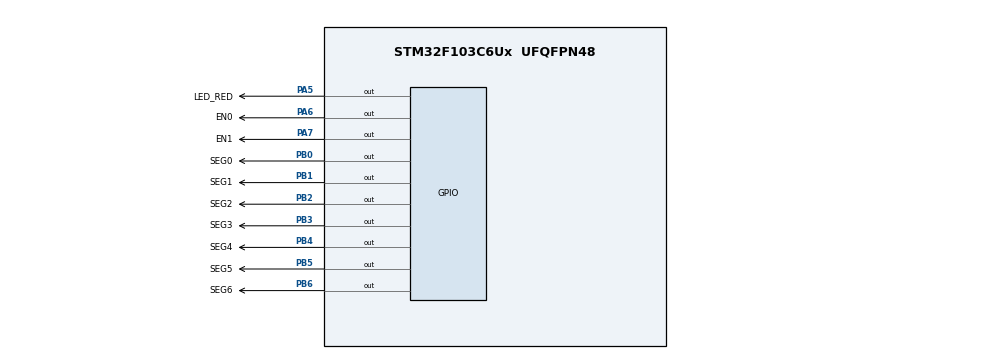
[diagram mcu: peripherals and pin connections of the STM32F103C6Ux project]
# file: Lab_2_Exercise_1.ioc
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Mcu.Family=STM32F1
Mcu.Name=STM32F103C6Ux
Mcu.Package=UFQFPN48
NVIC.PriorityGroup=NVIC_PRIORITYGROUP_4
NVIC.TIM2_IRQn=true\:0\:0\:false\:false\:true\:true\:true
PA5.GPIO_Label=LED_RED
PA5.Signal=GPIO_Output
PA6.GPIO_Label=EN0
PA6.Signal=GPIO_Output
PA7.GPIO_Label=EN1
PA7.Signal=GPIO_Output
PB0.GPIO_Label=SEG0
PB0.Signal=GPIO_Output
PB1.GPIO_Label=SEG1
PB1.Signal=GPIO_Output
PB2.GPIO_Label=SEG2
PB2.Signal=GPIO_Output
PB3.GPIO_Label=SEG3
PB3.Signal=GPIO_Output
PB4.GPIO_Label=SEG4
PB4.Signal=GPIO_Output
PB5.GPIO_Label=SEG5
PB5.Signal=GPIO_Output
PB6.GPIO_Label=SEG6
PB6.Signal=GPIO_Output
ProjectManager.HeapSize=0x200
ProjectManager.StackSize=0x400
ProjectManager.TargetToolchain=STM32CubeIDE
RCC.APB1Freq_Value=8000000
RCC.APB2Freq_Value=8000000
TIM2.Period=9
TIM2.Prescaler=7999
VP_SYS_VS_ND.Mode=No_Debug
VP_TIM2_VS_ClockSourceINT.Mode=Internal
board=custom

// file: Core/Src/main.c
/* USER CODE BEGIN Header */
/**
  ******************************************************************************
  * @file           : main.c
  * @brief          : Main program body
  ******************************************************************************
  * @attention
  *
  * <h2><center>&copy; Copyright (c) 2022 STMicroelectronics.
  * All rights reserved.</center></h2>
  *
  * This software component is licensed by ST under BSD 3-Clause license,
  * the "License"; You may not use this file except in compliance with the
  * License. You may obtain a copy of the License at:
  *                        opensource.org/licenses/BSD-3-Clause
  *
  ******************************************************************************
  */
/* USER CODE END Header */
#include "main.h"

TIM_HandleTypeDef htim2;

void SystemClock_Config(void);
static void MX_GPIO_Init(void);
static void MX_TIM2_Init(void);

int main(void)
{

  /* MCU Configuration--------------------------------------------------------*/

  /* Reset of all peripherals, Initializes the Flash interface and the Systick. */
  HAL_Init();

  /* Configure the system clock */
  SystemClock_Config();

  /* Initialize all configured peripherals */
  MX_GPIO_Init();
  MX_TIM2_Init();
  HAL_TIM_Base_Start_IT(&htim2);

  /* Infinite loop */
  while (1)
  {
  }
}

void SystemClock_Config(void)
{
  RCC_OscInitTypeDef RCC_OscInitStruct = {0};
  RCC_ClkInitTypeDef RCC_ClkInitStruct = {0};

  /** Initializes the RCC Oscillators according to the specified parameters
  * in the RCC_OscInitTypeDef structure.
  */
  RCC_OscInitStruct.OscillatorType = RCC_OSCILLATORTYPE_HSI;
  RCC_OscInitStruct.HSIState = RCC_HSI_ON;
  RCC_OscInitStruct.HSICalibrationValue = RCC_HSICALIBRATION_DEFAULT;
  RCC_OscInitStruct.PLL.PLLState = RCC_PLL_NONE;
  if (HAL_RCC_OscConfig(&RCC_OscInitStruct) != HAL_OK)
  {
    Error_Handler();
  }
  /** Initializes the CPU, AHB and APB buses clocks
  */
  RCC_ClkInitStruct.ClockType = RCC_CLOCKTYPE_HCLK|RCC_CLOCKTYPE_SYSCLK
                              |RCC_CLOCKTYPE_PCLK1|RCC_CLOCKTYPE_PCLK2;
  RCC_ClkInitStruct.SYSCLKSource = RCC_SYSCLKSOURCE_HSI;
  RCC_ClkInitStruct.AHBCLKDivider = RCC_SYSCLK_DIV1;
  RCC_ClkInitStruct.APB1CLKDivider = RCC_HCLK_DIV1;
  RCC_ClkInitStruct.APB2CLKDivider = RCC_HCLK_DIV1;

  if (HAL_RCC_ClockConfig(&RCC_ClkInitStruct, FLASH_LATENCY_0) != HAL_OK)
  {
    Error_Handler();
  }
}

static void MX_TIM2_Init(void)
{

  TIM_ClockConfigTypeDef sClockSourceConfig = {0};
  TIM_MasterConfigTypeDef sMasterConfig = {0};

  htim2.Instance = TIM2;
  htim2.Init.Prescaler = 7999;
  htim2.Init.CounterMode = TIM_COUNTERMODE_UP;
  htim2.Init.Period = 9;
  htim2.Init.ClockDivision = TIM_CLOCKDIVISION_DIV1;
  htim2.Init.AutoReloadPreload = TIM_AUTORELOAD_PRELOAD_DISABLE;
  if (HAL_TIM_Base_Init(&htim2) != HAL_OK)
  {
    Error_Handler();
  }
  sClockSourceConfig.ClockSource = TIM_CLOCKSOURCE_INTERNAL;
  if (HAL_TIM_ConfigClockSource(&htim2, &sClockSourceConfig) != HAL_OK)
  {
    Error_Handler();
  }
  sMasterConfig.MasterOutputTrigger = TIM_TRGO_RESET;
  sMasterConfig.MasterSlaveMode = TIM_MASTERSLAVEMODE_DISABLE;
  if (HAL_TIMEx_MasterConfigSynchronization(&htim2, &sMasterConfig) != HAL_OK)
  {
    Error_Handler();
  }

}

static void MX_GPIO_Init(void)
{
  GPIO_InitTypeDef GPIO_InitStruct = {0};

  /* GPIO Ports Clock Enable */
  __HAL_RCC_GPIOA_CLK_ENABLE();
  __HAL_RCC_GPIOB_CLK_ENABLE();

  /*Configure GPIO pin Output Level */
  HAL_GPIO_WritePin(GPIOA, LED_RED_Pin|EN0_Pin|EN1_Pin, GPIO_PIN_RESET);

  /*Configure GPIO pin Output Level */
  HAL_GPIO_WritePin(GPIOB, SEG0_Pin|SEG1_Pin|SEG2_Pin|SEG3_Pin
                          |SEG4_Pin|SEG5_Pin|SEG6_Pin, GPIO_PIN_RESET);

  /*Configure GPIO pins : LED_RED_Pin EN0_Pin EN1_Pin */
  GPIO_InitStruct.Pin = LED_RED_Pin|EN0_Pin|EN1_Pin;
  GPIO_InitStruct.Mode = GPIO_MODE_OUTPUT_PP;
  GPIO_InitStruct.Pull = GPIO_NOPULL;
  GPIO_InitStruct.Speed = GPIO_SPEED_FREQ_LOW;
  HAL_GPIO_Init(GPIOA, &GPIO_InitStruct);

  /*Configure GPIO pins : SEG0_Pin SEG1_Pin SEG2_Pin SEG3_Pin
                           SEG4_Pin SEG5_Pin SEG6_Pin */
  GPIO_InitStruct.Pin = SEG0_Pin|SEG1_Pin|SEG2_Pin|SEG3_Pin
                          |SEG4_Pin|SEG5_Pin|SEG6_Pin;
  GPIO_InitStruct.Mode = GPIO_MODE_OUTPUT_PP;
  GPIO_InitStruct.Pull = GPIO_NOPULL;
  GPIO_InitStruct.Speed = GPIO_SPEED_FREQ_LOW;
  HAL_GPIO_Init(GPIOB, &GPIO_InitStruct);

}

/* USER CODE BEGIN 4 */
void display7SEG(int num){
	switch(num)
	{
	case 0:
		HAL_GPIO_WritePin(SEG0_GPIO_Port, SEG0_Pin, 0);
		HAL_GPIO_WritePin(SEG1_GPIO_Port, SEG1_Pin, 0);
		HAL_GPIO_WritePin(SEG2_GPIO_Port, SEG2_Pin, 0);
		HAL_GPIO_WritePin(SEG3_GPIO_Port, SEG3_Pin, 0);
		HAL_GPIO_WritePin(SEG4_GPIO_Port, SEG4_Pin, 0);
		HAL_GPIO_WritePin(SEG5_GPIO_Port, SEG5_Pin, 0);
		HAL_GPIO_WritePin(SEG6_GPIO_Port, SEG6_Pin, 1);
		break;
	case 1:
		HAL_GPIO_WritePin(SEG0_GPIO_Port, SEG0_Pin, 1);
		HAL_GPIO_WritePin(SEG1_GPIO_Port, SEG1_Pin, 0);
		HAL_GPIO_WritePin(SEG2_GPIO_Port, SEG2_Pin, 0);
		HAL_GPIO_WritePin(SEG3_GPIO_Port, SEG3_Pin, 1);
		HAL_GPIO_WritePin(SEG4_GPIO_Port, SEG4_Pin, 1);
		HAL_GPIO_WritePin(SEG5_GPIO_Port, SEG5_Pin, 1);
		HAL_GPIO_WritePin(SEG6_GPIO_Port, SEG6_Pin, 1);
		break;
	case 2:
		HAL_GPIO_WritePin(SEG0_GPIO_Port, SEG0_Pin, 0);
		HAL_GPIO_WritePin(SEG1_GPIO_Port, SEG1_Pin, 0);
		HAL_GPIO_WritePin(SEG2_GPIO_Port, SEG2_Pin, 1);
		HAL_GPIO_WritePin(SEG3_GPIO_Port, SEG3_Pin, 0);
		HAL_GPIO_WritePin(SEG4_GPIO_Port, SEG4_Pin, 0);
		HAL_GPIO_WritePin(SEG5_GPIO_Port, SEG5_Pin, 1);
		HAL_GPIO_WritePin(SEG6_GPIO_Port, SEG6_Pin, 0);
		break;
	case 3:
		HAL_GPIO_WritePin(SEG0_GPIO_Port, SEG0_Pin, 0);
		HAL_GPIO_WritePin(SEG1_GPIO_Port, SEG1_Pin, 0);
		HAL_GPIO_WritePin(SEG2_GPIO_Port, SEG2_Pin, 0);
		HAL_GPIO_WritePin(SEG3_GPIO_Port, SEG3_Pin, 0);
		HAL_GPIO_WritePin(SEG4_GPIO_Port, SEG4_Pin, 1);
		HAL_GPIO_WritePin(SEG5_GPIO_Port, SEG5_Pin, 1);
		HAL_GPIO_WritePin(SEG6_GPIO_Port, SEG6_Pin, 0);
		break;
	case 4:
		HAL_GPIO_WritePin(SEG0_GPIO_Port, SEG0_Pin, 1);
		HAL_GPIO_WritePin(SEG1_GPIO_Port, SEG1_Pin, 0);
		HAL_GPIO_WritePin(SEG2_GPIO_Port, SEG2_Pin, 0);
		HAL_GPIO_WritePin(SEG3_GPIO_Port, SEG3_Pin, 1);
		HAL_GPIO_WritePin(SEG4_GPIO_Port, SEG4_Pin, 1);
		HAL_GPIO_WritePin(SEG5_GPIO_Port, SEG5_Pin, 0);
		HAL_GPIO_WritePin(SEG6_GPIO_Port, SEG6_Pin, 0);
		break;
	case 5:
		HAL_GPIO_WritePin(SEG0_GPIO_Port, SEG0_Pin, 0);
		HAL_GPIO_WritePin(SEG1_GPIO_Port, SEG1_Pin, 0);
		HAL_GPIO_WritePin(SEG2_GPIO_Port, SEG2_Pin, 1);
		HAL_GPIO_WritePin(SEG3_GPIO_Port, SEG3_Pin, 0);
		HAL_GPIO_WritePin(SEG4_GPIO_Port, SEG4_Pin, 1);
		HAL_GPIO_WritePin(SEG5_GPIO_Port, SEG5_Pin, 0);
		HAL_GPIO_WritePin(SEG6_GPIO_Port, SEG6_Pin, 0);
		break;
	case 6:
		HAL_GPIO_WritePin(SEG0_GPIO_Port, SEG0_Pin, 0);
		HAL_GPIO_WritePin(SEG1_GPIO_Port, SEG1_Pin, 1);
		HAL_GPIO_WritePin(SEG2_GPIO_Port, SEG2_Pin, 0);
		HAL_GPIO_WritePin(SEG3_GPIO_Port, SEG3_Pin, 0);
		HAL_GPIO_WritePin(SEG4_GPIO_Port, SEG4_Pin, 0);
		HAL_GPIO_WritePin(SEG5_GPIO_Port, SEG5_Pin, 0);
		HAL_GPIO_WritePin(SEG6_GPIO_Port, SEG6_Pin, 0);
		break;
	case 7:
		HAL_GPIO_WritePin(SEG0_GPIO_Port, SEG0_Pin, 0);
		HAL_GPIO_WritePin(SEG1_GPIO_Port, SEG1_Pin, 0);
		HAL_GPIO_WritePin(SEG2_GPIO_Port, SEG2_Pin, 0);
		HAL_GPIO_WritePin(SEG3_GPIO_Port, SEG3_Pin, 1);
		HAL_GPIO_WritePin(SEG4_GPIO_Port, SEG4_Pin, 1);
		HAL_GPIO_WritePin(SEG5_GPIO_Port, SEG5_Pin, 1);
		HAL_GPIO_WritePin(SEG6_GPIO_Port, SEG6_Pin, 1);
		break;
	case 8:
		HAL_GPIO_WritePin(SEG0_GPIO_Port, SEG0_Pin, 0);
		HAL_GPIO_WritePin(SEG1_GPIO_Port, SEG1_Pin, 0);
		HAL_GPIO_WritePin(SEG2_GPIO_Port, SEG2_Pin, 0);
		HAL_GPIO_WritePin(SEG3_GPIO_Port, SEG3_Pin, 0);
		HAL_GPIO_WritePin(SEG4_GPIO_Port, SEG4_Pin, 0);
		HAL_GPIO_WritePin(SEG5_GPIO_Port, SEG5_Pin, 0);
		HAL_GPIO_WritePin(SEG6_GPIO_Port, SEG6_Pin, 0);
		break;
	case 9:
		HAL_GPIO_WritePin(SEG0_GPIO_Port, SEG0_Pin, 0);
		HAL_GPIO_WritePin(SEG1_GPIO_Port, SEG1_Pin, 0);
		HAL_GPIO_WritePin(SEG2_GPIO_Port, SEG2_Pin, 0);
		HAL_GPIO_WritePin(SEG3_GPIO_Port, SEG3_Pin, 1);
		HAL_GPIO_WritePin(SEG4_GPIO_Port, SEG4_Pin, 1);
		HAL_GPIO_WritePin(SEG5_GPIO_Port, SEG5_Pin, 0);
		HAL_GPIO_WritePin(SEG6_GPIO_Port, SEG6_Pin, 0);
		break;
	}
}

int counter1 = 100, counter2 = 100, flag = 0;
void HAL_TIM_PeriodElapsedCallback(TIM_HandleTypeDef *htim){
	counter1--;
	counter2--;
	if (counter1 <= 0) {
		counter1 = 100;
		HAL_GPIO_TogglePin ( LED_RED_GPIO_Port , LED_RED_Pin );
	}
	if (counter2 <= 0) {
		counter2 = 100;
		if (flag == 0) {
			flag = 1;
			display7SEG(1);
			HAL_GPIO_WritePin(EN0_GPIO_Port, EN0_Pin, 0);
			HAL_GPIO_WritePin(EN1_GPIO_Port, EN1_Pin, 1);
		}
		else if (flag == 1) {
			flag = 0;
			display7SEG(2);
			HAL_GPIO_WritePin(EN0_GPIO_Port, EN0_Pin, 1);
			HAL_GPIO_WritePin(EN1_GPIO_Port, EN1_Pin, 0);
		}
	}
}

/* USER CODE END 4 */

void Error_Handler(void)
{
  __disable_irq();
  while (1)
  {
  }
}

/************************ (C) COPYRIGHT STMicroelectronics *****END OF FILE****/
